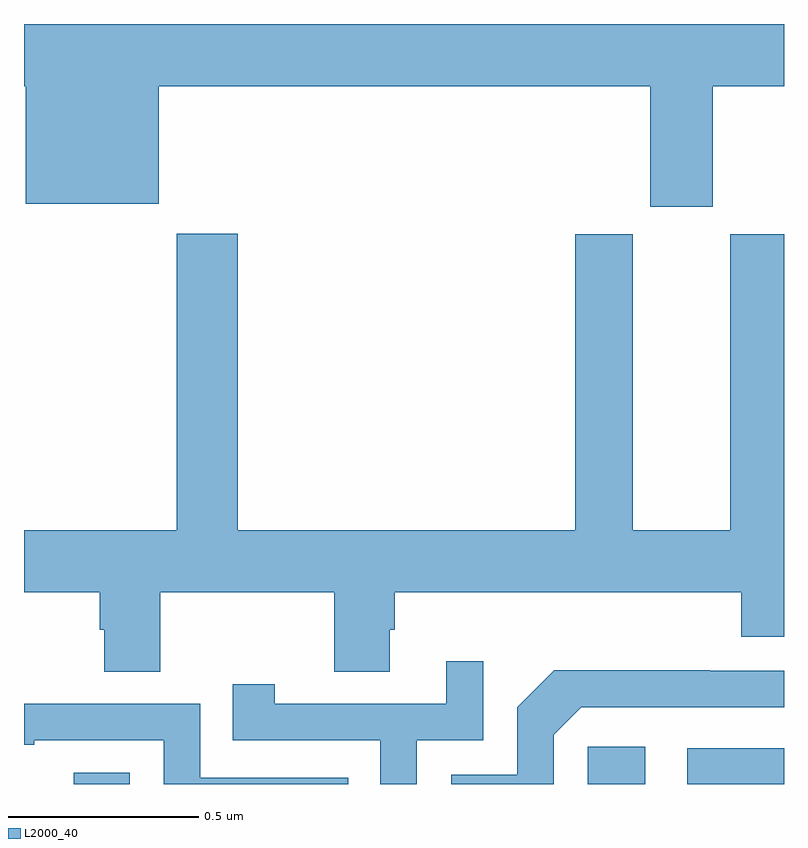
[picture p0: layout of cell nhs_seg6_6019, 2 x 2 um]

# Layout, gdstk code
import gdstk
lib = gdstk.Library(unit=1e-6, precision=1e-09)
def R(c, l, rs):  # rectangles x0, y0, x1, y1
    for r in rs: c.add(gdstk.rectangle(r[:2], r[2:], *l))
def P(c, l, *ps):  # polygons
    for p in ps: c.add(gdstk.Polygon(p, *l))
L2000_40 = (2000, 40)

nhs_seg6_6019 = lib.new_cell('nhs_seg6_6019')
R(nhs_seg6_6019, L2000_40, [(190.131,945.5,190.278,945.529), (191.484,945.5,191.635,945.598), (191.745,945.5,192,945.594)])
P(nhs_seg6_6019, L2000_40, [(190,947.336),(190.004,947.336),(190.004,947.027),(190.354,947.027),(190.354,947.336),(191.648,947.336),(191.648,947.019),(191.812,947.019),(191.812,947.336),(192,947.336),(192,947.5),(190,947.5)],
  [(190,946.004),(190.199,946.004),(190.199,945.906),(190.211,945.906),(190.211,945.796),(190.359,945.796),(190.359,946.004),(190.816,946.004),(190.816,945.796),(190.963,945.796),(190.963,945.906),(190.976,945.906),(190.976,946.004),(191.888,946.004),(191.888,945.887),(192,945.887),(192,946.947),(191.858,946.947),(191.858,946.168),(191.602,946.168),(191.602,946.947),(191.45,946.947),(191.45,946.168),(190.562,946.168),(190.562,946.948),(190.402,946.948),(190.402,946.168),(190,946.168)],
  [(191.034,945.615),(191.208,945.615),(191.208,945.823),(191.111,945.823),(191.111,945.711),(190.66,945.711),(190.66,945.763),(190.549,945.763),(190.549,945.615),(190.938,945.615),(190.938,945.5),(191.034,945.5)],
  [(191.394,945.63),(191.466,945.702),(192,945.702),(192,945.798),(191.804,945.798),(191.804,945.8),(191.396,945.8),(191.298,945.702),(191.298,945.525),(191.124,945.525),(191.124,945.5),(191.394,945.5)],
  [(190.853,945.516),(190.464,945.516),(190.464,945.711),(190,945.711),(190,945.603),(190.027,945.603),(190.027,945.615),(190.368,945.615),(190.368,945.5),(190.853,945.5)])

lib.write_gds('nhs_seg6_6019.gds')
